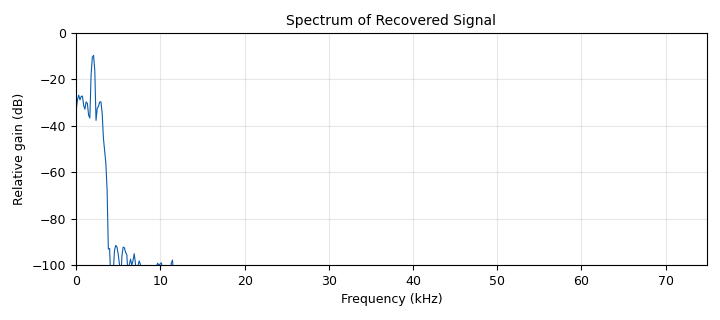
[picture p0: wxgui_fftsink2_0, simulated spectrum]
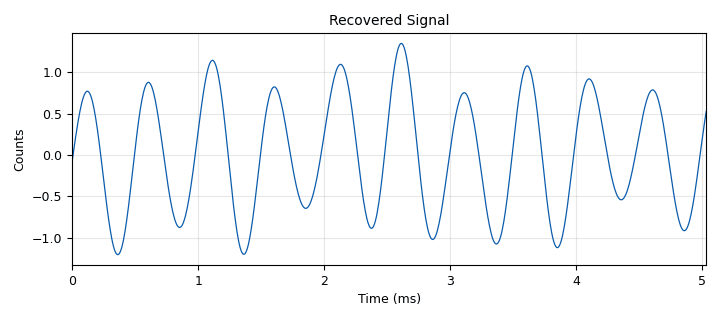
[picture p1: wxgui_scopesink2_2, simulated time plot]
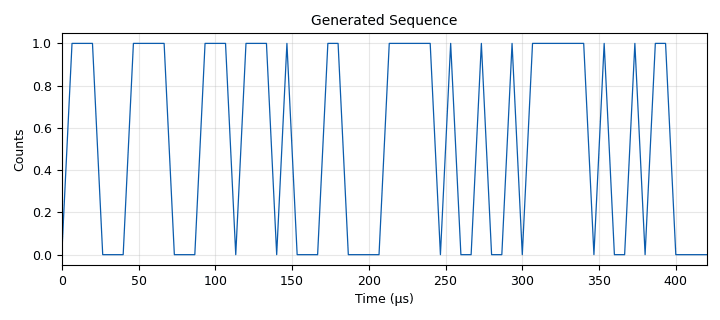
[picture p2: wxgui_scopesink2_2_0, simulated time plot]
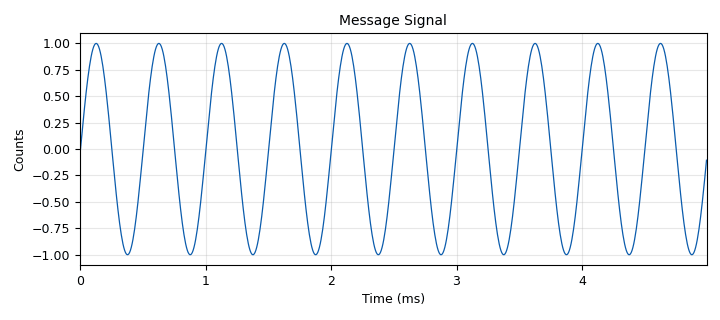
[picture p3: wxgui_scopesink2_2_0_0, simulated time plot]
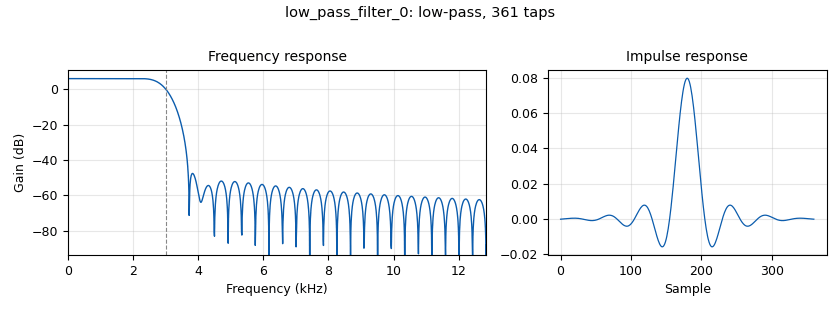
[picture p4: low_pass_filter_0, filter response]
<?xml version='1.0' encoding='utf-8'?>
<?grc format='1' created='3.7.11'?>
<flow_graph>
<block>
<key>options</key>
<param><key>id</key><value>dsss_mod_dmod_sim</value></param>
<param><key>author</key><value>AKADEMIKA Lab Solution</value></param>
<param><key>category</key><value>Custom</value></param>
<param><key>generate_options</key><value>wx_gui</value></param>
<param><key>title</key><value>DSSS Modulation Demodulation Simulation</value></param>
</block>
<block>
<key>variable</key>
<param><key>id</key><value>samp_rate</value></param>
<param><key>value</key><value>150000</value></param>
</block>
<block>
<key>analog_random_source_x</key>
<param><key>id</key><value>analog_random_source_x_0</value></param>
<param><key>max</key><value>2</value></param>
<param><key>min</key><value>0</value></param>
<param><key>num_samps</key><value>100000</value></param>
<param><key>type</key><value>byte</value></param>
<param><key>repeat</key><value>True</value></param>
</block>
<block>
<key>analog_sig_source_x</key>
<param><key>id</key><value>analog_sig_source_x_0</value></param>
<param><key>amp</key><value>1</value></param>
<param><key>freq</key><value>2000</value></param>
<param><key>offset</key><value>0</value></param>
<param><key>type</key><value>float</value></param>
<param><key>samp_rate</key><value>samp_rate</value></param>
<param><key>waveform</key><value>analog.GR_COS_WAVE</value></param>
</block>
<block>
<key>blocks_char_to_float</key>
<param><key>id</key><value>blocks_char_to_float_0</value></param>
<param><key>scale</key><value>1</value></param>
</block>
<block>
<key>blocks_multiply_xx</key>
<param><key>id</key><value>blocks_multiply_xx_0</value></param>
<param><key>type</key><value>float</value></param>
</block>
<block>
<key>blocks_multiply_xx</key>
<param><key>id</key><value>blocks_multiply_xx_1</value></param>
<param><key>type</key><value>float</value></param>
</block>
<block>
<key>blocks_throttle</key>
<param><key>id</key><value>blocks_throttle_0</value></param>
<param><key>samples_per_second</key><value>samp_rate</value></param>
<param><key>type</key><value>float</value></param>
</block>
<block>
<key>blocks_throttle</key>
<param><key>id</key><value>blocks_throttle_1</value></param>
<param><key>samples_per_second</key><value>samp_rate</value></param>
<param><key>type</key><value>float</value></param>
</block>
<block>
<key>low_pass_filter</key>
<param><key>id</key><value>low_pass_filter_0</value></param>
<param><key>cutoff_freq</key><value>3000</value></param>
<param><key>decim</key><value>1</value></param>
<param><key>type</key><value>fir_filter_fff</value></param>
<param><key>gain</key><value>2</value></param>
<param><key>samp_rate</key><value>samp_rate</value></param>
<param><key>width</key><value>1000</value></param>
<param><key>win</key><value>firdes.WIN_HAMMING</value></param>
</block>
<block>
<key>note</key>
<param><key>id</key><value>note_0</value></param>
<param><key>note</key><value>modulation</value></param>
</block>
<block>
<key>note</key>
<param><key>id</key><value>note_0_0</value></param>
<param><key>note</key><value>demodulation</value></param>
</block>
<block>
<key>note</key>
<param><key>id</key><value>note_0_0_0</value></param>
<param><key>alias</key><value>120</value></param>
<param><key>note</key><value>stolen carrier </value></param>
</block>
<block>
<key>notebook</key>
<param><key>id</key><value>notebook_0</value></param>
<param><key>labels</key><value>['Message Signal','Generated Sequence', 'Recovered Signal', 'Spectrum of Recovered Signal']</value></param>
<param><key>style</key><value>wx.NB_TOP</value></param>
</block>
<block>
<key>wxgui_fftsink2</key>
<param><key>id</key><value>wxgui_fftsink2_0</value></param>
<param><key>avg_alpha</key><value>0</value></param>
<param><key>average</key><value>False</value></param>
<param><key>baseband_freq</key><value>0</value></param>
<param><key>fft_size</key><value>1024</value></param>
<param><key>freqvar</key><value>None</value></param>
<param><key>grid_pos</key><value>2,0,1,1</value></param>
<param><key>notebook</key><value>notebook_0,3</value></param>
<param><key>peak_hold</key><value>False</value></param>
<param><key>ref_level</key><value>0</value></param>
<param><key>ref_scale</key><value>2.0</value></param>
<param><key>fft_rate</key><value>15</value></param>
<param><key>samp_rate</key><value>samp_rate</value></param>
<param><key>title</key><value>Spectrum of Recovered Signal</value></param>
<param><key>type</key><value>float</value></param>
<param><key>win</key><value>None</value></param>
<param><key>y_divs</key><value>10</value></param>
<param><key>y_per_div</key><value>10</value></param>
</block>
<block>
<key>wxgui_scopesink2</key>
<param><key>id</key><value>wxgui_scopesink2_2</value></param>
<param><key>ac_couple</key><value>False</value></param>
<param><key>grid_pos</key><value>2,0,1,1</value></param>
<param><key>notebook</key><value>notebook_0,2</value></param>
<param><key>num_inputs</key><value>1</value></param>
<param><key>samp_rate</key><value>samp_rate</value></param>
<param><key>t_scale</key><value>0</value></param>
<param><key>title</key><value>Recovered Signal</value></param>
<param><key>trig_mode</key><value>wxgui.TRIG_MODE_AUTO</value></param>
<param><key>type</key><value>float</value></param>
<param><key>v_offset</key><value>0</value></param>
<param><key>v_scale</key><value>0.5</value></param>
<param><key>xy_mode</key><value>False</value></param>
<param><key>y_axis_label</key><value>Counts</value></param>
</block>
<block>
<key>wxgui_scopesink2</key>
<param><key>id</key><value>wxgui_scopesink2_2_0</value></param>
<param><key>ac_couple</key><value>False</value></param>
<param><key>grid_pos</key><value>2,0,1,1</value></param>
<param><key>notebook</key><value>notebook_0,1</value></param>
<param><key>num_inputs</key><value>1</value></param>
<param><key>samp_rate</key><value>samp_rate</value></param>
<param><key>t_scale</key><value>0</value></param>
<param><key>title</key><value>Generated Sequence</value></param>
<param><key>trig_mode</key><value>wxgui.TRIG_MODE_AUTO</value></param>
<param><key>type</key><value>float</value></param>
<param><key>v_offset</key><value>0</value></param>
<param><key>v_scale</key><value>0</value></param>
<param><key>xy_mode</key><value>False</value></param>
<param><key>y_axis_label</key><value>Counts</value></param>
</block>
<block>
<key>wxgui_scopesink2</key>
<param><key>id</key><value>wxgui_scopesink2_2_0_0</value></param>
<param><key>ac_couple</key><value>False</value></param>
<param><key>grid_pos</key><value>2,0,1,1</value></param>
<param><key>notebook</key><value>notebook_0,0</value></param>
<param><key>num_inputs</key><value>1</value></param>
<param><key>samp_rate</key><value>samp_rate</value></param>
<param><key>t_scale</key><value>0</value></param>
<param><key>title</key><value>Message Signal</value></param>
<param><key>trig_mode</key><value>wxgui.TRIG_MODE_AUTO</value></param>
<param><key>type</key><value>float</value></param>
<param><key>v_offset</key><value>0</value></param>
<param><key>v_scale</key><value>0</value></param>
<param><key>xy_mode</key><value>False</value></param>
<param><key>y_axis_label</key><value>Counts</value></param>
</block>
<connection><source_block_id>analog_random_source_x_0</source_block_id><sink_block_id>blocks_char_to_float_0</sink_block_id><source_key>0</source_key><sink_key>0</sink_key></connection>
<connection><source_block_id>analog_sig_source_x_0</source_block_id><sink_block_id>blocks_multiply_xx_0</sink_block_id><source_key>0</source_key><sink_key>0</sink_key></connection>
<connection><source_block_id>analog_sig_source_x_0</source_block_id><sink_block_id>wxgui_scopesink2_2_0_0</sink_block_id><source_key>0</source_key><sink_key>0</sink_key></connection>
<connection><source_block_id>blocks_char_to_float_0</source_block_id><sink_block_id>blocks_multiply_xx_0</sink_block_id><source_key>0</source_key><sink_key>1</sink_key></connection>
<connection><source_block_id>blocks_char_to_float_0</source_block_id><sink_block_id>blocks_multiply_xx_1</sink_block_id><source_key>0</source_key><sink_key>1</sink_key></connection>
<connection><source_block_id>blocks_char_to_float_0</source_block_id><sink_block_id>wxgui_scopesink2_2_0</sink_block_id><source_key>0</source_key><sink_key>0</sink_key></connection>
<connection><source_block_id>blocks_multiply_xx_0</source_block_id><sink_block_id>blocks_throttle_1</sink_block_id><source_key>0</source_key><sink_key>0</sink_key></connection>
<connection><source_block_id>blocks_multiply_xx_1</source_block_id><sink_block_id>blocks_throttle_0</sink_block_id><source_key>0</source_key><sink_key>0</sink_key></connection>
<connection><source_block_id>blocks_throttle_0</source_block_id><sink_block_id>low_pass_filter_0</sink_block_id><source_key>0</source_key><sink_key>0</sink_key></connection>
<connection><source_block_id>blocks_throttle_1</source_block_id><sink_block_id>blocks_multiply_xx_1</sink_block_id><source_key>0</source_key><sink_key>0</sink_key></connection>
<connection><source_block_id>low_pass_filter_0</source_block_id><sink_block_id>wxgui_fftsink2_0</sink_block_id><source_key>0</source_key><sink_key>0</sink_key></connection>
<connection><source_block_id>low_pass_filter_0</source_block_id><sink_block_id>wxgui_scopesink2_2</sink_block_id><source_key>0</source_key><sink_key>0</sink_key></connection>
</flow_graph>
